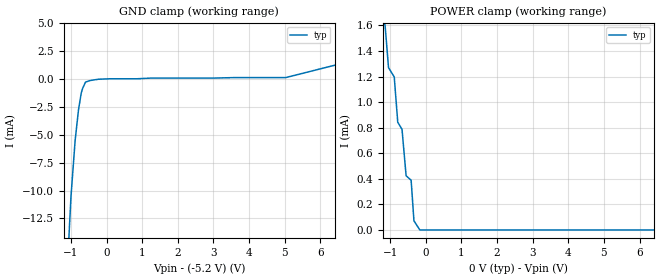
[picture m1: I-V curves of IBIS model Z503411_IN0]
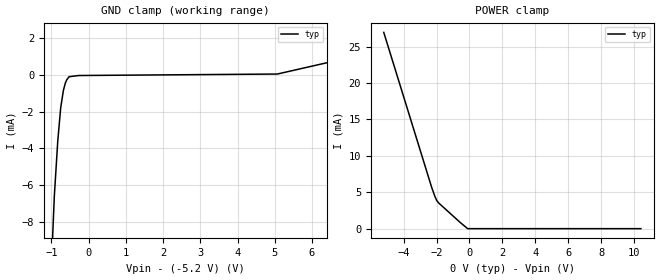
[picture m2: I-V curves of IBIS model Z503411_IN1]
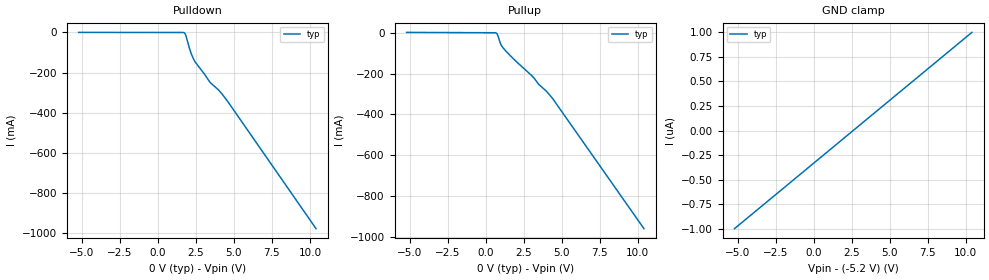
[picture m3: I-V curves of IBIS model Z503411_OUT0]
| YOU ARE ONLY AUTHORIZED TO USE THIS SOFTWARE
| ACCORDING TO LICENSOR'S LICENSE RESTRICTIONS.
[IBIS Ver] 3.1
[File Name] mc10e163fn.ibs
[File Rev] 2.0
[Source] Measured and created by ICX Technology
[Date] Friday 7/14/00 9:07:49 AM
[Copyright]
| (C) COPYRIGHT 1993-2000
| MENTOR GRAPHICS CORPORATION
| ICX STANDARD LIBRARY, ICX PROJECT MODELING,
| ICX CUSTOM MODELING, ICX VENDOR MODEL
| ALL RIGHTS RESERVED.
| THE FOLLOWING ARE TRADEMARKS OR SERVICE MARKS OF
| MENTOR GRAPHICS CORPORATION:ICX (R), ICX STANDARD
| LIBRARY(R), ICX PROJECT MODELING(R), ICX CUSTOM
| MODELING(R), qualityIBIS(TM), MODELVIEWER(TM),
| AND MODELEDITOR(TM)
| ALL COPIES OF SOFTWARE, INCLUDING BUT NOT LIMITED TO
| ANY MODIFICATIONS, ENHANCEMENTS OR DERIVATIVE WORKS,
| MUST CONTAIN ALL MENTOR GRAPHICS CORPORATION'S
| NOTICES AND LEGENDS, INCLUDING THOSE EMBEDDED IN
| SOFTWARE AND THOSE AFFIXED TO SOFTWARE MEDIUM
| AND CONTAINER, AS RECEIVED FROM MENTOR GRAPHICS
| CORPORATION.
|  ZAP Model Builder 2.7
[Component] MC10E163FN
[Manufacturer] OnSemiconductor
[Package]
| variable   typ   min   max
R_pkg  .083ohms NA NA
L_pkg  4.299nH NA NA
C_pkg  1.045pF NA NA
[Pin] signal_name  model_name  R_pin  L_pin C_pin
1 VEE POWER .08 3.94n .925p
2 SEL1 Z503411_IN0 .082 4.14n .995p
3 SEL2 Z503411_IN0 .084 4.354n 1.065p
4 A0 Z503411_IN1 .086 4.583n 1.135p
5 A1 Z503411_IN1 .086 4.583n 1.135p
6 A2 Z503411_IN1 .084 4.354n 1.065p
7 A3 Z503411_IN1 .082 4.14n .995p
8 A4 Z503411_IN1 .08 3.94n .925p
9 A5 Z503411_IN1 .082 4.14n .995p
10 A6 Z503411_IN1 .084 4.354n 1.065p
11 A7 Z503411_IN1 .086 4.583n 1.135p
12 QA Z503411_OUT0 .086 4.583n 1.135p
13 _QA Z503411_OUT1 .084 4.354n 1.065p
14 VCCO POWER .082 4.14n .995p
15 NC NC .08 3.94n .925p
16 VCC POWER .082 4.14n .995p
17 QB Z503411_OUT0 .084 4.354n 1.065p
18 _QB Z503411_OUT1 .086 4.583n 1.135p
19 VCCO POWER .086 4.583n 1.135p
20 B7 Z503411_IN2 .084 4.354n 1.065p
21 B6 Z503411_IN2 .082 4.14n .995p
22 B5 Z503411_IN2 .08 3.94n .925p
23 B4 Z503411_IN2 .082 4.14n .995p
24 B3 Z503411_IN2 .084 4.354n 1.065p
25 B2 Z503411_IN2 .086 4.583n 1.135p
26 B1 Z503411_IN2 .086 4.583n 1.135p
27 B0 Z503411_IN2 .084 4.354n 1.065p
28 SEL0 Z503411_IN3 .082 4.14n .995p
| Models and submodels in the file (6): Z503411_IN0 (Input_ECL), Z503411_IN1 (Input_ECL), Z503411_IN2 (Input_ECL), Z503411_IN3 (Input_ECL), Z503411_OUT0 (Output_ECL), Z503411_OUT1 (Output_ECL)
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| (C) COPYRIGHT 1993-2000
| MENTOR GRAPHICS CORPORATION
| ICX STANDARD LIBRARY, ICX PROJECT MODELING,
| ICX CUSTOM MODELING, ICX VENDOR MODEL
| ALL RIGHTS RESERVED.
| THE FOLLOWING ARE TRADEMARKS OR SERVICE MARKS OF
| MENTOR GRAPHICS CORPORATION:ICX (R), ICX STANDARD
| LIBRARY(R), ICX PROJECT MODELING(R), ICX CUSTOM
| MODELING(R), qualityIBIS(TM), MODELVIEWER(TM),
| AND MODELEDITOR(TM)
| ALL COPIES OF SOFTWARE, INCLUDING BUT NOT LIMITED TO
| ANY MODIFICATIONS, ENHANCEMENTS OR DERIVATIVE WORKS,
| MUST CONTAIN ALL MENTOR GRAPHICS CORPORATION'S
| NOTICES AND LEGENDS, INCLUDING THOSE EMBEDDED IN
| SOFTWARE AND THOSE AFFIXED TO SOFTWARE MEDIUM
| AND CONTAINER, AS RECEIVED FROM MENTOR GRAPHICS
| CORPORATION.
| Model Application Version 1.89 2/18/99.
[Model] Z503411_IN0
Model_type Input_ECL
Vinl = -1.480V
Vinh = -1.130V
C_comp 4.000pF NA NA
| variable typ   min   max
[Voltage Range] -5.200V NA NA
[GND Clamp Reference] -5.200V NA NA
[POWER Clamp Reference] 0.000V NA NA
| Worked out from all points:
|   GND clamp passes 1 mA (typ) near -0.69 V on its own axis
|   POWER clamp passes 1 mA (typ) near -0.83 V on its own axis
[GND Clamp]
-5.2V     -395mA     NA         NA
-1.185V   -22.23mA   NA         NA
-999mV    -10.54mA   NA         NA
-882mV    -5.486mA   NA         NA
-787mV    -2.729mA   NA         NA
-708mV    -1.203mA   NA         NA
-669mV    -811.6uA   NA         NA
-591mV    -272.1uA   NA         NA
-234.5mV  -15.35uA   NA         NA
91mV      28.09uA    NA         NA
5.031V    133.9uA    NA         NA
10.4V     4.471mA    NA         NA
[POWER Clamp]
-5.2V     12.88mA    NA         NA
-1.143V   1.604mA    NA         NA
-1.045V   1.27mA     NA         NA
-884.4mV  1.197mA    NA         NA
-786.4mV  843.7uA    NA         NA
-666.3mV  786.7uA    NA         NA
-551.6mV  424.4uA    NA         NA
-410.2mV  388.5uA    NA         NA
-332mV    71.88uA    NA         NA
-166mV    0A         NA         NA
10.4V     0A         NA         NA
| (C) COPYRIGHT 1993-2000
| MENTOR GRAPHICS CORPORATION
| ICX STANDARD LIBRARY, ICX PROJECT MODELING,
| ICX CUSTOM MODELING, ICX VENDOR MODEL
| ALL RIGHTS RESERVED.
| THE FOLLOWING ARE TRADEMARKS OR SERVICE MARKS OF
| MENTOR GRAPHICS CORPORATION:ICX (R), ICX STANDARD
| LIBRARY(R), ICX PROJECT MODELING(R), ICX CUSTOM
| MODELING(R), qualityIBIS(TM), MODELVIEWER(TM),
| AND MODELEDITOR(TM)
| ALL COPIES OF SOFTWARE, INCLUDING BUT NOT LIMITED TO
| ANY MODIFICATIONS, ENHANCEMENTS OR DERIVATIVE WORKS,
| MUST CONTAIN ALL MENTOR GRAPHICS CORPORATION'S
| NOTICES AND LEGENDS, INCLUDING THOSE EMBEDDED IN
| SOFTWARE AND THOSE AFFIXED TO SOFTWARE MEDIUM
| AND CONTAINER, AS RECEIVED FROM MENTOR GRAPHICS
| CORPORATION.
| Model Application Version 1.89 2/18/99.
[Model] Z503411_IN1
Model_type Input_ECL
Vinl = -1.480V
Vinh = -1.130V
C_comp 4.000pF NA NA
| variable typ   min   max
[Voltage Range] -5.200V NA NA
[GND Clamp Reference] -5.200V NA NA
[POWER Clamp Reference] 0.000V NA NA
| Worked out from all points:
|   GND clamp passes 1 mA (typ) near -0.69 V on its own axis
[GND Clamp]
-5.2V     -306.7mA   NA         NA
-1.069V   -13.71mA   NA         NA
-923mV    -6.593mA   NA         NA
-831mV    -3.602mA   NA         NA
-752mV    -1.779mA   NA         NA
-679mV    -825.4uA   NA         NA
-625mV    -417uA     NA         NA
-586mV    -243uA     NA         NA
-526mV    -85.27uA   NA         NA
-263mV    -20.8uA    NA         NA
5.069V    60.04uA    NA         NA
10.4V     2.525mA    NA         NA
[POWER Clamp]
-5.2V     26.96mA    NA         NA
-2.294V   5.677mA    NA         NA
-2.089V   4.376mA    NA         NA
-1.978V   3.839mA    NA         NA
-1.86V    3.507mA    NA         NA
-540.5mV  807.7uA    NA         NA
-225mV    216.3uA    NA         NA
-112.5mV  0A         NA         NA
10.4V     0A         NA         NA
| (C) COPYRIGHT 1993-2000
| MENTOR GRAPHICS CORPORATION
| ICX STANDARD LIBRARY, ICX PROJECT MODELING,
| ICX CUSTOM MODELING, ICX VENDOR MODEL
| ALL RIGHTS RESERVED.
| THE FOLLOWING ARE TRADEMARKS OR SERVICE MARKS OF
| MENTOR GRAPHICS CORPORATION:ICX (R), ICX STANDARD
| LIBRARY(R), ICX PROJECT MODELING(R), ICX CUSTOM
| MODELING(R), qualityIBIS(TM), MODELVIEWER(TM),
| AND MODELEDITOR(TM)
| ALL COPIES OF SOFTWARE, INCLUDING BUT NOT LIMITED TO
| ANY MODIFICATIONS, ENHANCEMENTS OR DERIVATIVE WORKS,
| MUST CONTAIN ALL MENTOR GRAPHICS CORPORATION'S
| NOTICES AND LEGENDS, INCLUDING THOSE EMBEDDED IN
| SOFTWARE AND THOSE AFFIXED TO SOFTWARE MEDIUM
| AND CONTAINER, AS RECEIVED FROM MENTOR GRAPHICS
| CORPORATION.
| Model Application Version 1.89 2/18/99.
[Model] Z503411_OUT0
Model_type Output_ECL
Vref=-2.000V
Rref=50.00ohms
Cref=0.000F
Vmeas=-1.305V
C_comp 8.000pF NA NA
| variable typ   min   max
[Voltage Range] -5.200V NA NA
[POWER Clamp Reference] 0.000V NA NA
[Pullup Reference] 0.000V NA NA
[Pulldown Reference] 0.000V NA NA
[GND Clamp Reference] -5.200V NA NA
[GND Clamp]
-5.2V     -1uA       NA         NA
10.4V     1uA        NA         NA
[Pulldown]
-5.2V     416.4uA    NA         NA
1.739V    -1.678mA   NA         NA
1.846V    -15.72mA   NA         NA
2.09V     -81.53mA   NA         NA
2.188V    -103.5mA   NA         NA
2.441V    -145.7mA   NA         NA
3.448V    -250.2mA   NA         NA
3.989V    -286.7mA   NA         NA
4.567V    -341.1mA   NA         NA
10.4V     -978.7mA   NA         NA
[Pullup]
-5.2V     1.527mA    NA         NA
566.7mV   -81.66uA   NA         NA
724.3mV   -3.144mA   NA         NA
810mV     -15.75mA   NA         NA
1.016V    -60.69mA   NA         NA
1.25V     -83.77mA   NA         NA
2.026V    -142.3mA   NA         NA
3.035V    -210.5mA   NA         NA
3.484V    -252.6mA   NA         NA
3.989V    -286.2mA   NA         NA
4.39V     -321.3mA   NA         NA
10.4V     -958.7mA   NA         NA
[POWER Clamp]
-5.2V     0A         NA         NA
10.4V     0A         NA         NA
[Ramp]
| variable typ min max
dV/dt_r 595.7m/257.7p NA NA
dV/dt_f 595.7m/302.2p NA NA
R_load = 500.0Ohms
